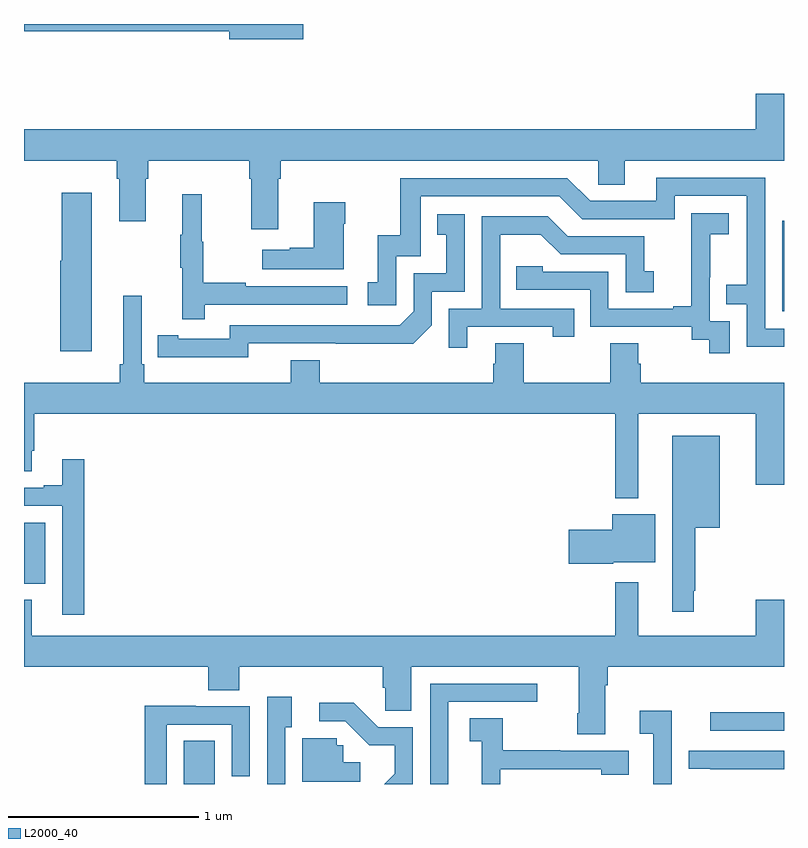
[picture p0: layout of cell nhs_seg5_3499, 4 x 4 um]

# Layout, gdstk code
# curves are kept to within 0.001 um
import gdstk
lib = gdstk.Library(unit=1e-6, precision=1e-09)
def R(c, l, rs):  # rectangles x0, y0, x1, y1
    for r in rs: c.add(gdstk.rectangle(r[:2], r[2:], *l))
def P(c, l, *ps):  # polygons
    for p in ps: c.add(gdstk.Polygon(p, *l))
L2000_40 = (2000, 40)

nhs_seg5_3499 = lib.new_cell('nhs_seg5_3499')
R(nhs_seg5_3499, L2000_40, [(317.84,866.799,318.004,867.026), (320.613,867.078,321,867.177), (317,867.854,317.113,868.174), (320.991,869.286,321,869.763)])
P(nhs_seg5_3499, L2000_40, [(318.469,870.799),(317,870.799),(317,870.76),(318.08,870.76),(318.08,870.718),(318.469,870.718)],
  [(318.337,869.984),(318.35,869.984),(318.35,870.08),(320.022,870.08),(320.022,869.953),(320.161,869.953),(320.161,870.08),(321,870.08),(321,870.433),(320.852,870.433),(320.852,870.244),(317,870.244),(317,870.08),(317.489,870.08),(317.489,869.984),(317.501,869.984),(317.501,869.76),(317.641,869.76),(317.641,869.984),(317.654,869.984),(317.654,870.08),(318.185,870.08),(318.185,869.984),(318.197,869.984),(318.197,869.718),(318.337,869.718)],
  [(321,869.196),(320.901,869.196),(320.901,869.991),(320.327,869.991),(320.327,869.868),(319.98,869.868),(319.86,869.988),(318.981,869.988),(318.981,869.686),(318.863,869.686),(318.863,869.439),(318.81,869.439),(318.81,869.319),(318.96,869.319),(318.96,869.577),(319.089,869.577),(319.089,869.892),(319.818,869.892),(319.938,869.772),(320.424,869.772),(320.424,869.895),(320.805,869.895),(320.805,869.426),(320.695,869.426),(320.695,869.325),(320.805,869.325),(320.805,869.1),(321,869.1)],
  [(317.356,869.911),(317.198,869.911),(317.198,869.553),(317.192,869.553),(317.192,869.076),(317.356,869.076)],
  [(317.951,869.322),(318.7,869.322),(318.7,869.418),(318.167,869.418),(318.167,869.438),(317.944,869.438),(317.944,869.652),(317.936,869.652),(317.936,869.902),(317.834,869.902),(317.834,869.689),(317.823,869.689),(317.823,869.515),(317.834,869.515),(317.834,869.244),(317.951,869.244)],
  [(318.682,869.747),(318.69,869.747),(318.69,869.86),(318.524,869.86),(318.524,869.621),(318.398,869.621),(318.398,869.611),(318.255,869.611),(318.255,869.507),(318.682,869.507)],
  [(320.715,869.235),(320.61,869.235),(320.61,869.465),(320.612,869.465),(320.612,869.693),(320.71,869.693),(320.71,869.803),(320.512,869.803),(320.512,869.597),(320.513,869.597),(320.513,869.314),(320.417,869.314),(320.417,869.301),(320.076,869.301),(320.076,869.496),(319.731,869.496),(319.731,869.523),(319.591,869.523),(319.591,869.4),(319.98,869.4),(319.98,869.205),(320.514,869.205),(320.514,869.137),(320.607,869.137),(320.607,869.067),(320.715,869.067)],
  [(318.18,869.118),(319.048,869.117),(319.146,869.214),(319.146,869.391),(319.32,869.391),(319.32,869.797),(319.174,869.797),(319.174,869.691),(319.223,869.691),(319.223,869.487),(319.05,869.487),(319.05,869.286),(318.978,869.214),(318.084,869.214),(318.084,869.142),(317.812,869.142),(317.812,869.162),(317.704,869.162),(317.704,869.046),(318.18,869.045)],
  [(319.333,869.205),(319.784,869.205),(319.784,869.154),(319.895,869.154),(319.895,869.301),(319.506,869.301),(319.506,869.69),(319.72,869.69),(319.824,869.586),(320.166,869.586),(320.166,869.388),(320.314,869.388),(320.314,869.497),(320.265,869.497),(320.265,869.682),(319.861,869.682),(319.756,869.787),(319.41,869.787),(319.41,869.301),(319.236,869.301),(319.236,869.094),(319.333,869.094)],
  [(320.233,868.748),(320.852,868.748),(320.852,868.374),(321,868.374),(321,868.912),(320.246,868.912),(320.246,869.01),(320.233,869.01),(320.233,869.12),(320.086,869.12),(320.086,868.912),(319.629,868.912),(319.629,869.12),(319.481,869.12),(319.481,869.01),(319.469,869.01),(319.469,868.912),(318.557,868.912),(318.557,869.029),(318.404,869.029),(318.404,868.912),(317.633,868.912),(317.633,869.008),(317.619,869.008),(317.619,869.368),(317.522,869.368),(317.522,869.008),(317.503,869.008),(317.503,868.912),(317,868.912),(317,868.444),(317.041,868.444),(317.041,868.552),(317.054,868.552),(317.054,868.748),(320.112,868.748),(320.112,868.304),(320.233,868.304)],
  [(320.525,867.817),(320.533,867.817),(320.533,868.148),(320.662,868.148),(320.662,868.633),(320.411,868.633),(320.411,867.705),(320.525,867.705)],
  [(317.318,868.507),(317.201,868.507),(317.201,868.372),(317.105,868.372),(317.105,868.359),(317,868.359),(317,868.263),(317.202,868.263),(317.202,867.69),(317.318,867.69)],
  [(320.1,867.965),(320.323,867.965),(320.323,868.219),(320.096,868.219),(320.096,868.136),(319.866,868.136),(319.866,867.958),(320.1,867.958)],
  [(317.041,867.769),(317,867.769),(317,867.416),(317.969,867.416),(317.969,867.292),(318.134,867.292),(318.134,867.416),(318.887,867.416),(318.887,867.306),(318.901,867.306),(318.901,867.184),(319.039,867.184),(319.039,867.416),(319.919,867.416),(319.919,867.172),(319.912,867.172),(319.912,867.06),(320.059,867.06),(320.059,867.32),(320.072,867.32),(320.072,867.416),(321,867.416),(321,867.769),(320.852,867.769),(320.852,867.58),(320.233,867.58),(320.233,867.862),(320.112,867.862),(320.112,867.58),(317.041,867.58)],
  [(319.234,867.231),(319.702,867.231),(319.702,867.327),(319.137,867.327),(319.137,866.799),(319.234,866.799)],
  [(318.375,867.098),(318.409,867.098),(318.409,867.259),(318.279,867.259),(318.279,866.799),(318.375,866.799)],
  [(319.047,866.801),(319.047,867.099),(318.864,867.099),(318.736,867.227),(318.555,867.227),(318.555,867.129),(318.69,867.129),(318.817,867.002),(318.95,867.002),(318.95,866.852),(318.897,866.799),(319.045,866.799)],
  [(317.751,867.111),(318.093,867.111),(318.093,866.841),(318.189,866.841),(318.189,867.207),(317.905,867.207),(317.905,867.211),(317.635,867.211),(317.635,866.799),(317.751,866.799)],
  [(320.409,867.184),(320.241,867.184),(320.241,867.064),(320.312,867.064),(320.312,866.799),(320.409,866.799)],
  [(319.506,866.877),(320.037,866.877),(320.037,866.849),(320.182,866.849),(320.182,866.973),(319.823,866.973),(319.823,866.976),(319.519,866.976),(319.519,867.146),(319.347,867.146),(319.347,867.025),(319.41,867.025),(319.41,866.799),(319.506,866.799)],
  [(318.769,866.914),(318.681,866.914),(318.681,867.003),(318.645,867.003),(318.645,867.039),(318.464,867.039),(318.464,866.811),(318.769,866.811)],
  [(321,866.973),(320.499,866.973),(320.499,866.878),(320.611,866.878),(320.611,866.877),(321,866.877)])

lib.write_gds('nhs_seg5_3499.gds')
